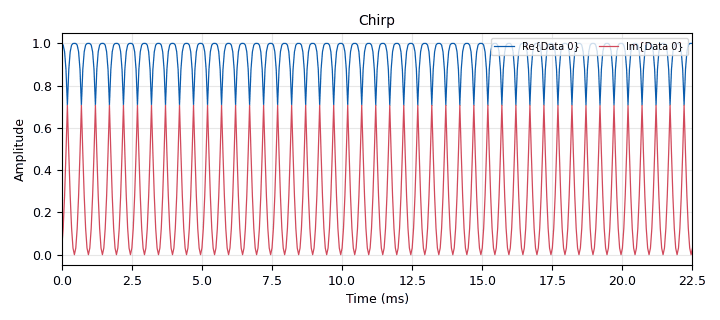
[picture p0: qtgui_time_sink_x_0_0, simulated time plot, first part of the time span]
<?xml version='1.0' encoding='utf-8'?>
<?grc format='1' created='3.7.13'?>
<flow_graph>
<block>
<key>options</key>
<param><key>id</key><value>top_block</value></param>
<param><key>generate_options</key><value>qt_gui</value></param>
</block>
<block>
<key>variable</key>
<param><key>id</key><value>N</value></param>
<param><key>value</key><value>p*Tp*W</value></param>
</block>
<block>
<key>variable</key>
<param><key>id</key><value>Np</value></param>
<param><key>value</key><value>5</value></param>
</block>
<block>
<key>variable_qtgui_range</key>
<param><key>id</key><value>Tp</value></param>
<param><key>value</key><value>0.5e-3</value></param>
<param><key>orient</key><value>Qt.Horizontal</value></param>
<param><key>start</key><value>1e-5</value></param>
<param><key>step</key><value>1e-5</value></param>
<param><key>stop</key><value>0.025</value></param>
</block>
<block>
<key>variable_qtgui_range</key>
<param><key>id</key><value>W</value></param>
<param><key>value</key><value>2e3</value></param>
<param><key>orient</key><value>Qt.Horizontal</value></param>
<param><key>start</key><value>1e3</value></param>
<param><key>step</key><value>1e3</value></param>
<param><key>stop</key><value>100e3</value></param>
</block>
<block>
<key>variable</key>
<param><key>id</key><value>alpha</value></param>
<param><key>value</key><value>1/(2*p*p*Tp*W)</value></param>
</block>
<block>
<key>variable</key>
<param><key>id</key><value>chirp</value></param>
<param><key>value</key><value>np.exp(1j*2*np.pi*alpha*(n-0.5*N)**2)</value></param>
</block>
<block>
<key>variable</key>
<param><key>id</key><value>n</value></param>
<param><key>value</key><value>np.arange(0,N)</value></param>
</block>
<block>
<key>variable</key>
<param><key>id</key><value>p</value></param>
<param><key>value</key><value>10</value></param>
</block>
<block>
<key>variable</key>
<param><key>id</key><value>samp_rate</value></param>
<param><key>value</key><value>p*W</value></param>
</block>
<block>
<key>variable_qtgui_range</key>
<param><key>id</key><value>z</value></param>
<param><key>value</key><value>500e-3</value></param>
<param><key>orient</key><value>Qt.Horizontal</value></param>
<param><key>start</key><value>1e-3</value></param>
<param><key>step</key><value>1e-3</value></param>
<param><key>stop</key><value>1</value></param>
</block>
<block>
<key>blocks_throttle</key>
<param><key>id</key><value>blocks_throttle_0</value></param>
<param><key>samples_per_second</key><value>samp_rate</value></param>
<param><key>type</key><value>complex</value></param>
</block>
<block>
<key>blocks_vector_source_x</key>
<param><key>id</key><value>blocks_vector_source_x_0</value></param>
<param><key>type</key><value>complex</value></param>
<param><key>repeat</key><value>True</value></param>
<param><key>vector</key><value>chirp</value></param>
</block>
<block>
<key>import</key>
<param><key>id</key><value>import_0</value></param>
<param><key>import</key><value>import numpy as np</value></param>
</block>
<block>
<key>qtgui_time_sink_x</key>
<param><key>id</key><value>qtgui_time_sink_x_0_0</value></param>
<param><key>autoscale</key><value>True</value></param>
<param><key>color1</key><value>"blue"</value></param>
<param><key>label1</key><value></value></param>
<param><key>color2</key><value>"red"</value></param>
<param><key>label2</key><value></value></param>
<param><key>name</key><value>"Chirp"</value></param>
<param><key>size</key><value>1024</value></param>
<param><key>srate</key><value>samp_rate</value></param>
<param><key>type</key><value>complex</value></param>
</block>
<connection><source_block_id>blocks_throttle_0</source_block_id><sink_block_id>qtgui_time_sink_x_0_0</sink_block_id><source_key>0</source_key><sink_key>0</sink_key></connection>
<connection><source_block_id>blocks_vector_source_x_0</source_block_id><sink_block_id>blocks_throttle_0</sink_block_id><source_key>0</source_key><sink_key>0</sink_key></connection>
</flow_graph>
